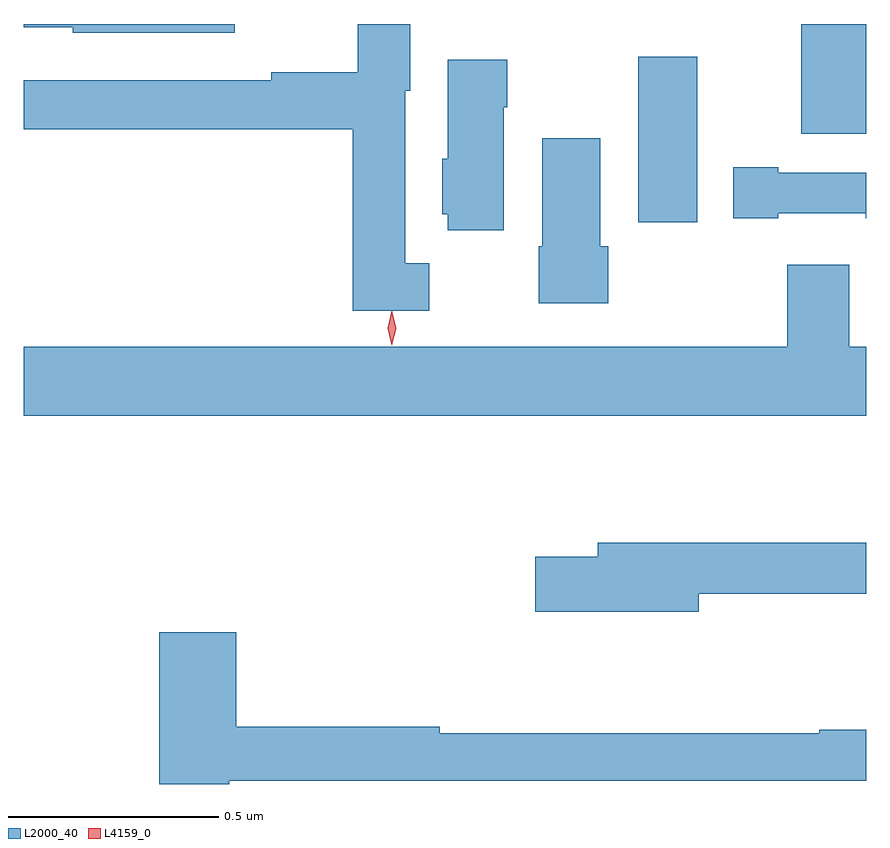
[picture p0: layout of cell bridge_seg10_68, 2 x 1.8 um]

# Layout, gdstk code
import gdstk
lib = gdstk.Library(unit=1e-6, precision=1e-09)
def R(c, l, rs):  # rectangles x0, y0, x1, y1
    for r in rs: c.add(gdstk.rectangle(r[:2], r[2:], *l))
def P(c, l, *ps):  # polygons
    for p in ps: c.add(gdstk.Polygon(p, *l))
L2000_40 = (2000, 40)
L4159_0 = (4159, 0)

bridge_seg10_68 = lib.new_cell('bridge_seg10_68')
R(bridge_seg10_68, L2000_40, [(783.851,1315.428,783.991,1315.82), (784.238,1315.637,784.392,1315.898)])
P(bridge_seg10_68, L2000_40, [(783.355,1315.33),(783.298,1315.33),(783.298,1315.74),(783.31,1315.74),(783.31,1315.898),(783.185,1315.898),(783.185,1315.784),(782.98,1315.784),(782.98,1315.764),(782.392,1315.764),(782.392,1315.648),(783.173,1315.648),(783.173,1315.217),(783.355,1315.217)],
  [(782.893,1315.898),(782.392,1315.898),(782.392,1315.89),(782.508,1315.89),(782.508,1315.877),(782.893,1315.877)],
  [(783.532,1315.7),(783.54,1315.7),(783.54,1315.813),(783.398,1315.813),(783.398,1315.578),(783.386,1315.578),(783.386,1315.446),(783.398,1315.446),(783.398,1315.409),(783.532,1315.409)],
  [(783.78,1315.371),(783.76,1315.371),(783.76,1315.627),(783.623,1315.627),(783.623,1315.371),(783.614,1315.371),(783.614,1315.235),(783.78,1315.235)],
  [(784.183,1315.449),(784.391,1315.449),(784.391,1315.437),(784.392,1315.437),(784.392,1315.545),(784.183,1315.545),(784.183,1315.558),(784.076,1315.558),(784.076,1315.437),(784.183,1315.437)],
  [(784.392,1315.132),(784.351,1315.132),(784.351,1315.327),(784.204,1315.327),(784.204,1315.132),(782.392,1315.132),(782.392,1314.968),(784.392,1314.968)],
  [(783.994,1314.546),(784.392,1314.546),(784.392,1314.667),(783.755,1314.667),(783.755,1314.633),(783.606,1314.633),(783.606,1314.503),(783.994,1314.503)],
  [(782.88,1314.102),(784.392,1314.102),(784.392,1314.223),(784.28,1314.223),(784.28,1314.215),(783.38,1314.215),(783.38,1314.23),(782.897,1314.23),(782.897,1314.454),(782.714,1314.454),(782.714,1314.094),(782.88,1314.094)])
P(bridge_seg10_68, L4159_0, [(783.266,1315.135),(783.266,1315.135),(783.256,1315.176),(783.266,1315.217),(783.266,1315.217),(783.266,1315.217),(783.276,1315.176),(783.266,1315.135)])

lib.write_gds('bridge_seg10_68.gds')
